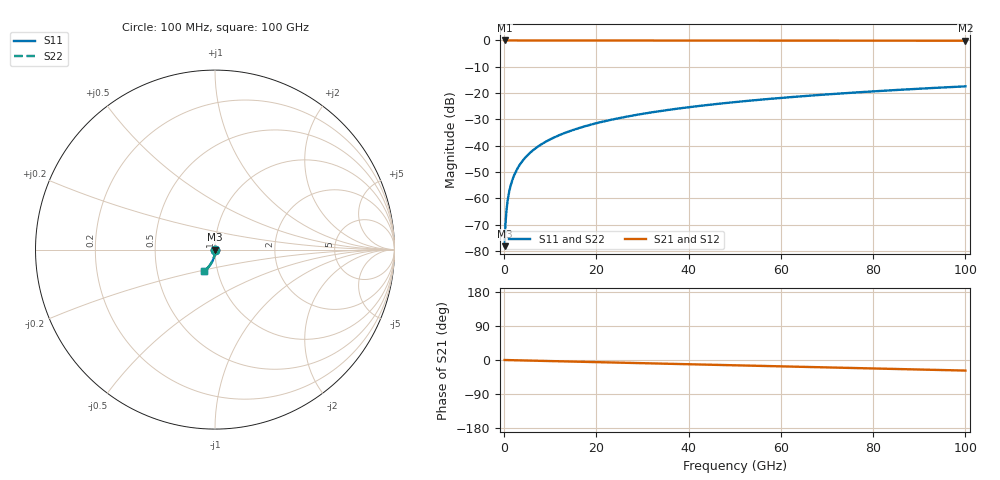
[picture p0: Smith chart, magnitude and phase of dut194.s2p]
! Touchstone file exported from HFSS 2026.1.0
!  File:  C:/ffzhzh/LocalFiles/Ansys_Project_Files/temp_train_TSV_194_1783507369_44152.aedt
!  Generated:  06:43:58 PM Jul  8, 2026
!  Design:  TSV
!  Project:  temp_train_TSV_194_1783507369_44152
! Variables:
!  h_bsmrdl = 2um
!  h_ox = 20um
!  h_rdl = 5um
!  h_sub = 52.37um
!  h_tmrdl = 5um
!  h_tsv = 52.37um
!  h_via = 3um
!  l_bsmrdl = 300um
!  l_sub = 426.36um
!  l_tmrdl = 200um
!  m_sub = 200um
!  pitch = 40.98um
!  r_tsv = 13.18um
!  s_tmrdl = 10um
!  w_bsmrdl = 18um
!  w_sub = 500um
!  w_tmrdl = 12um
!  x_tsv_center1 = 206um
!  x_tsv_center2 = 524um
!  x_tsv_center3 = 736um
!  x_tsv_center4 = 1054um
!  x_tsv_center5 = 1266um
!  x_tsv_center6 = 1584um
# GHz S MA R 50.000000
! Terminal data exported
! Port[1] = TSV1_1_T1
! Port[2] = TSV1_1_T2
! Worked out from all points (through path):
!   1000 points, 100 MHz to 100 GHz, reference 50 ohm
!   highest |S21| = 0.00 dB at 100 MHz (marker M1); lowest = -0.1 dB at 100 GHz (marker M2)
!   group delay of S21, straight-line fit = 774 fs
!   lowest |S11| = -78.2 dB at 100 MHz (marker M3), VSWR 1.00, Z = 50 - j0.0103 ohm
!   |S11| at or under -10 dB: start of sweep to end of sweep
!   |S22| runs from -78.2 to -17.5 dB; largest |S21 - S12| = 2.1e-15
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0.1  0.0001224 -56.8  0.9999 -0.0  0.9999 -0.0  0.0001224 -56.8
! Gamma 0 0 0 0
! Port Impedance 50 0 50 0
0.4  0.0004514 -76.1  0.9999 -0.1  0.9999 -0.1  0.0004514 -76.1
0.7  0.0008252 -79.6  0.9998 -0.2  0.9998 -0.2  0.0008252 -79.6
0.8  0.0009529 -80.4  0.9998 -0.2  0.9998 -0.2  0.0009529 -80.4
1  0.00121 -81.7  0.9998 -0.3  0.9998 -0.3  0.00121 -81.7
1.3  0.001597 -83.0  0.9998 -0.4  0.9998 -0.4  0.001597 -83.0
1.7  0.002116 -84.2  0.9998 -0.5  0.9998 -0.5  0.002116 -84.2
2.3  0.002899 -85.3  0.9997 -0.7  0.9997 -0.7  0.002899 -85.3
2.9  0.003687 -86.1  0.9997 -0.8  0.9997 -0.8  0.003687 -86.1
3.7  0.004747 -86.9  0.9996 -1.0  0.9996 -1.0  0.004747 -86.9
4.7  0.006078 -87.6  0.9996 -1.3  0.9996 -1.3  0.006078 -87.6
5.8  0.007548 -88.3  0.9995 -1.6  0.9995 -1.6  0.007548 -88.3
8.6  0.0113 -89.7  0.9994 -2.4  0.9994 -2.4  0.0113 -89.7
12.2  0.01614 -91.1  0.9992 -3.4  0.9992 -3.4  0.01614 -91.1
16.8  0.02235 -92.8  0.999 -4.7  0.999 -4.7  0.02235 -92.8
24.2  0.03237 -95.2  0.9986 -6.8  0.9986 -6.8  0.03237 -95.2
33.4  0.04482 -98.0  0.9979 -9.3  0.9979 -9.3  0.04482 -98.0
41.2  0.05536 -100.3  0.9973 -11.5  0.9973 -11.5  0.05536 -100.3
50.1  0.06738 -102.9  0.9964 -14.0  0.9964 -14.0  0.06738 -102.9
66.7  0.08975 -107.6  0.9944 -18.6  0.9944 -18.6  0.08975 -107.6
83.4  0.1121 -112.4  0.9919 -23.3  0.9919 -23.3  0.1121 -112.4
100  0.134 -117.2  0.9889 -27.9  0.9889 -27.9  0.134 -117.2
